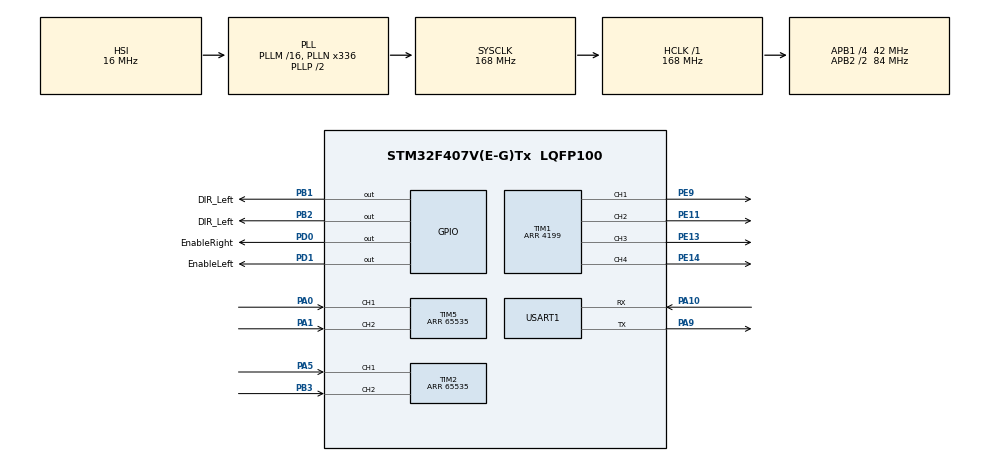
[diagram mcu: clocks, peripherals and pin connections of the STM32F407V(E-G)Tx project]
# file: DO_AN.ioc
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Mcu.Family=STM32F4
Mcu.Name=STM32F407V(E-G)Tx
Mcu.Package=LQFP100
NVIC.PriorityGroup=NVIC_PRIORITYGROUP_4
NVIC.TIM6_DAC_IRQn=true\:0\:0\:false\:false\:true\:true\:true
PA0-WKUP.Signal=S_TIM5_CH1
PA1.Signal=S_TIM5_CH2
PA10.Mode=Asynchronous
PA10.Signal=USART1_RX
PA5.Signal=S_TIM2_CH1_ETR
PA9.Mode=Asynchronous
PA9.Signal=USART1_TX
PB1.GPIO_Label=DIR_Left
PB1.Signal=GPIO_Output
PB2.GPIO_Label=DIR_Left
PB2.Signal=GPIO_Output
PB3.Signal=S_TIM2_CH2
PD0.GPIO_Label=EnableRight
PD0.Signal=GPIO_Output
PD1.GPIO_Label=EnableLeft
PD1.Signal=GPIO_Output
PE11.Signal=S_TIM1_CH2
PE13.Signal=S_TIM1_CH3
PE14.Signal=S_TIM1_CH4
PE9.Signal=S_TIM1_CH1
ProjectManager.HeapSize=0x200
ProjectManager.StackSize=0x400
ProjectManager.TargetToolchain=STM32CubeIDE
RCC.48MHZClocksFreq_Value=84000000
RCC.AHBFreq_Value=168000000
RCC.APB1CLKDivider=RCC_HCLK_DIV4
RCC.APB1Freq_Value=42000000
RCC.APB1TimFreq_Value=84000000
RCC.APB2CLKDivider=RCC_HCLK_DIV2
RCC.APB2Freq_Value=84000000
RCC.APB2TimFreq_Value=168000000
RCC.CortexFreq_Value=168000000
RCC.HCLKFreq_Value=168000000
RCC.HSE_VALUE=25000000
RCC.HSI_VALUE=16000000
RCC.LSE_VALUE=32768
RCC.PLLN=336
RCC.SYSCLKFreq_VALUE=168000000
RCC.SYSCLKSource=RCC_SYSCLKSOURCE_PLLCLK
RCC.VCOOutputFreq_Value=336000000
SH.S_TIM1_CH1.0=TIM1_CH1,PWM Generation1 CH1
SH.S_TIM1_CH2.0=TIM1_CH2,PWM Generation2 CH2
SH.S_TIM1_CH3.0=TIM1_CH3,PWM Generation3 CH3
SH.S_TIM1_CH4.0=TIM1_CH4,PWM Generation4 CH4
SH.S_TIM2_CH1_ETR.0=TIM2_CH1,Encoder_Interface
SH.S_TIM2_CH2.0=TIM2_CH2,Encoder_Interface
SH.S_TIM5_CH1.0=TIM5_CH1,Encoder_Interface
SH.S_TIM5_CH2.0=TIM5_CH2,Encoder_Interface
TIM1.Channel-PWM\ Generation1\ CH1=TIM_CHANNEL_1
TIM1.Channel-PWM\ Generation2\ CH2=TIM_CHANNEL_2
TIM1.Channel-PWM\ Generation3\ CH3=TIM_CHANNEL_3
TIM1.Channel-PWM\ Generation4\ CH4=TIM_CHANNEL_4
TIM1.Period=4199
TIM2.EncoderMode=TIM_ENCODERMODE_TI12
TIM2.Period=65535
TIM5.EncoderMode=TIM_ENCODERMODE_TI12
TIM5.Period=65535
TIM6.Period=8399
TIM6.Prescaler=9
USART1.VirtualMode=VM_ASYNC
VP_TIM1_VS_ClockSourceINT.Mode=Internal
VP_TIM6_VS_ClockSourceINT.Mode=Enable_Timer
board=custom

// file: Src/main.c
/* USER CODE BEGIN Header */
/**
  ******************************************************************************
  * @file           : main.c
  * @brief          : Main program body
  ******************************************************************************
  * @attention
  *
  * <h2><center>&copy; Copyright (c) 2026 STMicroelectronics.
  * All rights reserved.</center></h2>
  *
  * This software component is licensed by ST under BSD 3-Clause license,
  * the "License"; You may not use this file except in compliance with the
  * License. You may obtain a copy of the License at:
  *                        opensource.org/licenses/BSD-3-Clause
  *
  ******************************************************************************
  */
/* USER CODE END Header */
#include "main.h"
#include "tim.h"
#include "usart.h"
#include "gpio.h"
#include "global.h"
#include "control.h"

void SystemClock_Config(void);

int main(void)
{

  /* MCU Configuration--------------------------------------------------------*/

  /* Reset of all peripherals, Initializes the Flash interface and the Systick. */
  HAL_Init();

  /* Configure the system clock */
  SystemClock_Config();

  /* Initialize all configured peripherals */
  MX_GPIO_Init();
  MX_TIM1_Init();
  MX_TIM2_Init();
  MX_TIM6_Init();
  MX_TIM5_Init();
  MX_USART1_UART_Init();
  /* USER CODE BEGIN 2 */
  HAL_TIM_Base_Start_IT(&htim6);
  HAL_TIM_Encoder_Start(&htim2, TIM_CHANNEL_ALL);
  HAL_TIM_Encoder_Start(&htim5, TIM_CHANNEL_ALL);
  HAL_TIM_PWM_Start(&htim1, TIM_CHANNEL_1);
  HAL_TIM_PWM_Start(&htim1, TIM_CHANNEL_2);
  HAL_TIM_PWM_Start(&htim1, TIM_CHANNEL_3);
  HAL_TIM_PWM_Start(&htim1, TIM_CHANNEL_4);
  control_init();
  /* USER CODE END 2 */

  /* Infinite loop */
  while (1)
  {

  }
}

void SystemClock_Config(void)
{
  RCC_OscInitTypeDef RCC_OscInitStruct = {0};
  RCC_ClkInitTypeDef RCC_ClkInitStruct = {0};

  /** Configure the main internal regulator output voltage
  */
  __HAL_RCC_PWR_CLK_ENABLE();
  __HAL_PWR_VOLTAGESCALING_CONFIG(PWR_REGULATOR_VOLTAGE_SCALE1);
  /** Initializes the RCC Oscillators according to the specified parameters
  * in the RCC_OscInitTypeDef structure.
  */
  RCC_OscInitStruct.OscillatorType = RCC_OSCILLATORTYPE_HSI;
  RCC_OscInitStruct.HSIState = RCC_HSI_ON;
  RCC_OscInitStruct.HSICalibrationValue = RCC_HSICALIBRATION_DEFAULT;
  RCC_OscInitStruct.PLL.PLLState = RCC_PLL_ON;
  RCC_OscInitStruct.PLL.PLLSource = RCC_PLLSOURCE_HSI;
  RCC_OscInitStruct.PLL.PLLM = 16;
  RCC_OscInitStruct.PLL.PLLN = 336;
  RCC_OscInitStruct.PLL.PLLP = RCC_PLLP_DIV2;
  RCC_OscInitStruct.PLL.PLLQ = 4;
  if (HAL_RCC_OscConfig(&RCC_OscInitStruct) != HAL_OK)
  {
    Error_Handler();
  }
  /** Initializes the CPU, AHB and APB buses clocks
  */
  RCC_ClkInitStruct.ClockType = RCC_CLOCKTYPE_HCLK|RCC_CLOCKTYPE_SYSCLK
                              |RCC_CLOCKTYPE_PCLK1|RCC_CLOCKTYPE_PCLK2;
  RCC_ClkInitStruct.SYSCLKSource = RCC_SYSCLKSOURCE_PLLCLK;
  RCC_ClkInitStruct.AHBCLKDivider = RCC_SYSCLK_DIV1;
  RCC_ClkInitStruct.APB1CLKDivider = RCC_HCLK_DIV4;
  RCC_ClkInitStruct.APB2CLKDivider = RCC_HCLK_DIV2;

  if (HAL_RCC_ClockConfig(&RCC_ClkInitStruct, FLASH_LATENCY_5) != HAL_OK)
  {
    Error_Handler();
  }
}

/* USER CODE BEGIN 4 */
void HAL_TIM_PeriodElapsedCallback(TIM_HandleTypeDef *htim)
{
    if(htim->Instance == TIM6)
    {
        control_loop();
    }
}

void HAL_UART_RxCpltCallback(UART_HandleTypeDef *huart)
{
    if(huart->Instance == USART1)
    {
        float v = rx_packet.v;
        float w = rx_packet.w;

        cmd_v = v;
        cmd_w = w;

        last_cmd_time = HAL_GetTick();

        HAL_UART_Receive_IT(&huart1, rx_buf, sizeof(rx_buf));
    }
}
/* USER CODE END 4 */

void Error_Handler(void)
{
  __disable_irq();
  while (1)
  {
  }
}

/************************ (C) COPYRIGHT STMicroelectronics *****END OF FILE****/
